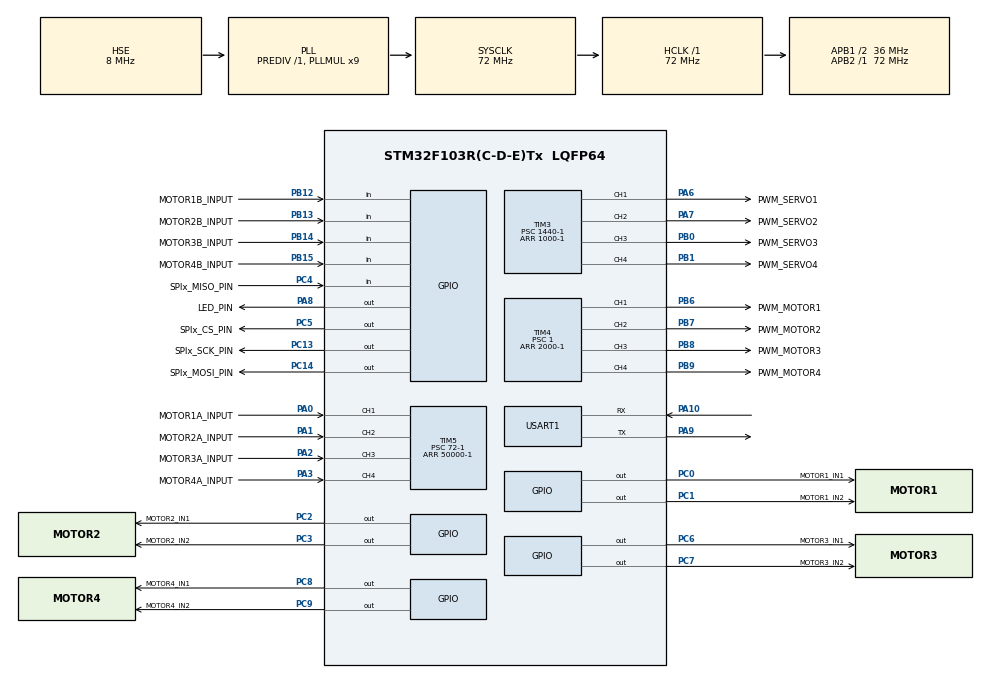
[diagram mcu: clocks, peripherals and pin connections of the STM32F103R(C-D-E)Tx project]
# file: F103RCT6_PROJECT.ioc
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Mcu.Family=STM32F1
Mcu.Name=STM32F103R(C-D-E)Tx
Mcu.Package=LQFP64
NVIC.PriorityGroup=NVIC_PRIORITYGROUP_4
NVIC.TIM5_IRQn=true\:0\:0\:true\:false\:true\:true\:true\:true
NVIC.USART1_IRQn=true\:1\:0\:true\:false\:true\:true\:true\:true
PA0-WKUP.GPIO_Label=MOTOR1A_INPUT
PA0-WKUP.Signal=S_TIM5_CH1
PA1.GPIO_Label=MOTOR2A_INPUT
PA1.Signal=S_TIM5_CH2
PA10.Mode=Asynchronous
PA10.Signal=USART1_RX
PA13.Mode=Serial_Wire
PA13.Signal=SYS_JTMS-SWDIO
PA14.Mode=Serial_Wire
PA14.Signal=SYS_JTCK-SWCLK
PA2.GPIO_Label=MOTOR3A_INPUT
PA2.Signal=S_TIM5_CH3
PA3.GPIO_Label=MOTOR4A_INPUT
PA3.Signal=S_TIM5_CH4
PA6.GPIO_Label=PWM_SERVO1
PA6.GPIO_Speed=GPIO_SPEED_FREQ_HIGH
PA6.Signal=S_TIM3_CH1
PA7.GPIO_Label=PWM_SERVO2
PA7.GPIO_Speed=GPIO_SPEED_FREQ_HIGH
PA7.Signal=S_TIM3_CH2
PA8.GPIO_Label=LED_PIN
PA8.GPIO_Speed=GPIO_SPEED_FREQ_HIGH
PA8.PinState=GPIO_PIN_SET
PA8.Signal=GPIO_Output
PA9.Mode=Asynchronous
PA9.Signal=USART1_TX
PB0.GPIO_Label=PWM_SERVO3
PB0.GPIO_Speed=GPIO_SPEED_FREQ_HIGH
PB0.Signal=S_TIM3_CH3
PB1.GPIO_Label=PWM_SERVO4
PB1.GPIO_Speed=GPIO_SPEED_FREQ_HIGH
PB1.Signal=S_TIM3_CH4
PB12.GPIO_Label=MOTOR1B_INPUT
PB12.GPIO_PuPd=GPIO_NOPULL
PB12.Signal=GPIO_Input
PB13.GPIO_Label=MOTOR2B_INPUT
PB13.GPIO_PuPd=GPIO_NOPULL
PB13.Signal=GPIO_Input
PB14.GPIO_Label=MOTOR3B_INPUT
PB14.GPIO_PuPd=GPIO_NOPULL
PB14.Signal=GPIO_Input
PB15.GPIO_Label=MOTOR4B_INPUT
PB15.GPIO_PuPd=GPIO_NOPULL
PB15.Signal=GPIO_Input
PB6.GPIO_Label=PWM_MOTOR1
PB6.GPIO_Speed=GPIO_SPEED_FREQ_HIGH
PB6.Signal=S_TIM4_CH1
PB7.GPIO_Label=PWM_MOTOR2
PB7.GPIO_Speed=GPIO_SPEED_FREQ_HIGH
PB7.Signal=S_TIM4_CH2
PB8.GPIO_Label=PWM_MOTOR3
PB8.GPIO_Speed=GPIO_SPEED_FREQ_HIGH
PB8.Signal=S_TIM4_CH3
PB9.GPIO_Label=PWM_MOTOR4
PB9.GPIO_Speed=GPIO_SPEED_FREQ_HIGH
PB9.Signal=S_TIM4_CH4
PC0.GPIO_Label=MOTOR1_IN1
PC0.GPIO_PuPd=GPIO_PULLDOWN
PC0.GPIO_Speed=GPIO_SPEED_FREQ_HIGH
PC0.Signal=GPIO_Output
PC1.GPIO_Label=MOTOR1_IN2
PC1.GPIO_PuPd=GPIO_PULLDOWN
PC1.GPIO_Speed=GPIO_SPEED_FREQ_HIGH
PC1.Signal=GPIO_Output
PC13-TAMPER-RTC.GPIO_Label=SPIx_SCK_PIN
PC13-TAMPER-RTC.GPIO_PuPd=GPIO_PULLDOWN
PC13-TAMPER-RTC.GPIO_Speed=GPIO_SPEED_FREQ_HIGH
PC13-TAMPER-RTC.Signal=GPIO_Output
PC14-OSC32_IN.GPIO_Label=SPIx_MOSI_PIN
PC14-OSC32_IN.GPIO_PuPd=GPIO_PULLDOWN
PC14-OSC32_IN.GPIO_Speed=GPIO_SPEED_FREQ_HIGH
PC14-OSC32_IN.Signal=GPIO_Output
PC2.GPIO_Label=MOTOR2_IN1
PC2.GPIO_PuPd=GPIO_PULLDOWN
PC2.GPIO_Speed=GPIO_SPEED_FREQ_HIGH
PC2.Signal=GPIO_Output
PC3.GPIO_Label=MOTOR2_IN2
PC3.GPIO_PuPd=GPIO_PULLDOWN
PC3.GPIO_Speed=GPIO_SPEED_FREQ_HIGH
PC3.Signal=GPIO_Output
PC4.GPIO_Label=SPIx_MISO_PIN
PC4.GPIO_PuPd=GPIO_PULLDOWN
PC4.Signal=GPIO_Input
PC5.GPIO_Label=SPIx_CS_PIN
PC5.GPIO_PuPd=GPIO_PULLDOWN
PC5.GPIO_Speed=GPIO_SPEED_FREQ_HIGH
PC5.Signal=GPIO_Output
PC6.GPIO_Label=MOTOR3_IN1
PC6.GPIO_PuPd=GPIO_PULLDOWN
PC6.GPIO_Speed=GPIO_SPEED_FREQ_HIGH
PC6.Signal=GPIO_Output
PC7.GPIO_Label=MOTOR3_IN2
PC7.GPIO_PuPd=GPIO_PULLDOWN
PC7.GPIO_Speed=GPIO_SPEED_FREQ_HIGH
PC7.Signal=GPIO_Output
PC8.GPIO_Label=MOTOR4_IN1
PC8.GPIO_PuPd=GPIO_PULLDOWN
PC8.GPIO_Speed=GPIO_SPEED_FREQ_HIGH
PC8.Signal=GPIO_Output
PC9.GPIO_Label=MOTOR4_IN2
PC9.GPIO_PuPd=GPIO_PULLDOWN
PC9.GPIO_Speed=GPIO_SPEED_FREQ_HIGH
PC9.Signal=GPIO_Output
PD0-OSC_IN.Mode=HSE-External-Oscillator
PD0-OSC_IN.Signal=RCC_OSC_IN
PD1-OSC_OUT.Mode=HSE-External-Oscillator
PD1-OSC_OUT.Signal=RCC_OSC_OUT
ProjectManager.HeapSize=0x200
ProjectManager.StackSize=0x400
ProjectManager.TargetToolchain=MDK-ARM V5.32
RCC.AHBFreq_Value=72000000
RCC.APB1CLKDivider=RCC_HCLK_DIV2
RCC.APB1Freq_Value=36000000
RCC.APB1TimFreq_Value=72000000
RCC.APB2Freq_Value=72000000
RCC.APB2TimFreq_Value=72000000
RCC.HCLKFreq_Value=72000000
RCC.PLLMUL=RCC_PLL_MUL9
RCC.PLLSourceVirtual=RCC_PLLSOURCE_HSE
RCC.SYSCLKFreq_VALUE=72000000
RCC.SYSCLKSource=RCC_SYSCLKSOURCE_PLLCLK
RCC.USBFreq_Value=72000000
SH.S_TIM3_CH1.0=TIM3_CH1,PWM Generation1 CH1
SH.S_TIM3_CH2.0=TIM3_CH2,PWM Generation2 CH2
SH.S_TIM3_CH3.0=TIM3_CH3,PWM Generation3 CH3
SH.S_TIM3_CH4.0=TIM3_CH4,PWM Generation4 CH4
SH.S_TIM4_CH1.0=TIM4_CH1,PWM Generation1 CH1
SH.S_TIM4_CH2.0=TIM4_CH2,PWM Generation2 CH2
SH.S_TIM4_CH3.0=TIM4_CH3,PWM Generation3 CH3
SH.S_TIM4_CH4.0=TIM4_CH4,PWM Generation4 CH4
SH.S_TIM5_CH1.0=TIM5_CH1,Input_Capture1_from_TI1
SH.S_TIM5_CH2.0=TIM5_CH2,Input_Capture2_from_TI2
SH.S_TIM5_CH3.0=TIM5_CH3,Input_Capture3_from_TI3
SH.S_TIM5_CH4.0=TIM5_CH4,Input_Capture4_from_TI4
TIM3.AutoReloadPreload=TIM_AUTORELOAD_PRELOAD_ENABLE
TIM3.Channel-PWM\ Generation1\ CH1=TIM_CHANNEL_1
TIM3.Channel-PWM\ Generation2\ CH2=TIM_CHANNEL_2
TIM3.Channel-PWM\ Generation3\ CH3=TIM_CHANNEL_3
TIM3.Channel-PWM\ Generation4\ CH4=TIM_CHANNEL_4
TIM3.Period=1000-1
TIM3.Prescaler=1440-1
TIM3.Pulse-PWM\ Generation2\ CH2=0
TIM3.Pulse-PWM\ Generation3\ CH3=1000
TIM3.Pulse-PWM\ Generation4\ CH4=1000
TIM4.AutoReloadPreload=TIM_AUTORELOAD_PRELOAD_ENABLE
TIM4.Channel-PWM\ Generation1\ CH1=TIM_CHANNEL_1
TIM4.Channel-PWM\ Generation2\ CH2=TIM_CHANNEL_2
TIM4.Channel-PWM\ Generation3\ CH3=TIM_CHANNEL_3
TIM4.Channel-PWM\ Generation4\ CH4=TIM_CHANNEL_4
TIM4.Period=2000-1
TIM4.Prescaler=1
TIM4.Pulse-PWM\ Generation1\ CH1=1000
TIM4.Pulse-PWM\ Generation2\ CH2=1000
TIM4.Pulse-PWM\ Generation3\ CH3=1000
TIM4.Pulse-PWM\ Generation4\ CH4=1000
TIM5.AutoReloadPreload=TIM_AUTORELOAD_PRELOAD_ENABLE
TIM5.Channel-Input_Capture1_from_TI1=TIM_CHANNEL_1
TIM5.Channel-Input_Capture2_from_TI2=TIM_CHANNEL_2
TIM5.Channel-Input_Capture3_from_TI3=TIM_CHANNEL_3
TIM5.Channel-Input_Capture4_from_TI4=TIM_CHANNEL_4
TIM5.ICFilter_CH1=1
TIM5.ICFilter_CH2=1
TIM5.ICFilter_CH3=1
TIM5.ICFilter_CH4=1
TIM5.ICPolarity_CH1=TIM_INPUTCHANNELPOLARITY_FALLING
TIM5.ICPolarity_CH2=TIM_INPUTCHANNELPOLARITY_FALLING
TIM5.ICPolarity_CH3=TIM_INPUTCHANNELPOLARITY_FALLING
TIM5.ICPolarity_CH4=TIM_INPUTCHANNELPOLARITY_FALLING
TIM5.Period=50000-1
TIM5.Prescaler=72-1
TIM6.AutoReloadPreload=TIM_AUTORELOAD_PRELOAD_DISABLE
TIM6.Prescaler=72-1
USART1.VirtualMode=VM_ASYNC
VP_TIM3_VS_ClockSourceINT.Mode=Internal
VP_TIM4_VS_ClockSourceINT.Mode=Internal
VP_TIM5_VS_ClockSourceINT.Mode=Internal
VP_TIM6_VS_ClockSourceINT.Mode=Enable_Timer
board=custom

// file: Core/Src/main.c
/* USER CODE BEGIN Header */
/**
  ******************************************************************************
  * @file           : main.c
  * @brief          : Main program body
  ******************************************************************************
  * @attention
  *
  * Copyright (c) 2023 STMicroelectronics.
  * All rights reserved.
  *
  * This software is licensed under terms that can be found in the LICENSE file
  * in the root directory of this software component.
  * If no LICENSE file comes with this software, it is provided AS-IS.
  *
  ******************************************************************************
  */
/* USER CODE END Header */
#include "main.h"
#include "tim.h"
#include "usart.h"
#include "gpio.h"

/* USER CODE BEGIN Includes */
#include "bsp_encoder.h"
#include "bsp_led.h"
#include "motor.h"
#include "bsp_ps2.h"
#include "pid.h"
#include "PS2.h"
#include "chasis_control.h"
/* USER CODE END Includes */

void SystemClock_Config(void);

int main(void)
{

  /* MCU Configuration--------------------------------------------------------*/

  /* Reset of all peripherals, Initializes the Flash interface and the Systick. */
  HAL_Init();

  /* Configure the system clock */
  SystemClock_Config();

  /* Initialize all configured peripherals */
  MX_GPIO_Init();
  MX_USART1_UART_Init();
  MX_TIM4_Init();
  MX_TIM3_Init();
  MX_TIM5_Init();
  MX_TIM6_Init();
  /* USER CODE BEGIN 2 */
  	HAL_TIM_Base_Start_IT(&htim5);
	HAL_TIM_IC_Start_IT(&htim5, TIM_CHANNEL_1);
	HAL_TIM_IC_Start_IT(&htim5, TIM_CHANNEL_2);
	HAL_TIM_IC_Start_IT(&htim5, TIM_CHANNEL_3);
	HAL_TIM_IC_Start_IT(&htim5, TIM_CHANNEL_4);

	bsp_InitPid();

	printf("input format : data+[space]\n");

//	MotoASetSpeed(0, 500);
//	MotoBSetSpeed(0, 500);
//	MotoCSetSpeed(0, 500);
//	MotoDSetSpeed(0, 500);
  /* USER CODE END 2 */

  /* Infinite loop */
  while (1)
  {

    /* USER CODE BEGIN 3 */
	  PS2_Read_Data();
//	  printf("LX:%d LY:%d RX:%d RY:%d\r\n", PS2_Data.Rocker_LX, PS2_Data.Rocker_LY, PS2_Data.Rocker_RX, PS2_Data.Rocker_RY);

//		printf("LX:%d LY:%d RX:%d RY:%d L1:%d L2:%d R1:%d R2:%d\r\n", PS2_Data.Rocker_LX, PS2_Data.Rocker_LY, PS2_Data.Rocker_RX, PS2_Data.Rocker_RY, PS2_Data.Key_L1, PS2_Data.Key_L2, PS2_Data.Key_R1, PS2_Data.Key_R1);

	  Chasis_Speed();
	  Speed_Synchronization();
	  Speed_PID_Calculate();
	  Chasis_Control();
	  Angle_Control_PS2_Gate();
	  Servo_Control_Gate();
		Angle_Control_PS2_Baffle();
		Servo_Control_Baffle();
//		test();
	  HAL_Delay(10);
  }
  /* USER CODE END 3 */
}

void SystemClock_Config(void)
{
  RCC_OscInitTypeDef RCC_OscInitStruct = {0};
  RCC_ClkInitTypeDef RCC_ClkInitStruct = {0};

  /** Initializes the RCC Oscillators according to the specified parameters
  * in the RCC_OscInitTypeDef structure.
  */
  RCC_OscInitStruct.OscillatorType = RCC_OSCILLATORTYPE_LSI|RCC_OSCILLATORTYPE_HSE;
  RCC_OscInitStruct.HSEState = RCC_HSE_ON;
  RCC_OscInitStruct.HSEPredivValue = RCC_HSE_PREDIV_DIV1;
  RCC_OscInitStruct.HSIState = RCC_HSI_ON;
  RCC_OscInitStruct.LSIState = RCC_LSI_ON;
  RCC_OscInitStruct.PLL.PLLState = RCC_PLL_ON;
  RCC_OscInitStruct.PLL.PLLSource = RCC_PLLSOURCE_HSE;
  RCC_OscInitStruct.PLL.PLLMUL = RCC_PLL_MUL9;
  if (HAL_RCC_OscConfig(&RCC_OscInitStruct) != HAL_OK)
  {
    Error_Handler();
  }

  /** Initializes the CPU, AHB and APB buses clocks
  */
  RCC_ClkInitStruct.ClockType = RCC_CLOCKTYPE_HCLK|RCC_CLOCKTYPE_SYSCLK
                              |RCC_CLOCKTYPE_PCLK1|RCC_CLOCKTYPE_PCLK2;
  RCC_ClkInitStruct.SYSCLKSource = RCC_SYSCLKSOURCE_PLLCLK;
  RCC_ClkInitStruct.AHBCLKDivider = RCC_SYSCLK_DIV1;
  RCC_ClkInitStruct.APB1CLKDivider = RCC_HCLK_DIV2;
  RCC_ClkInitStruct.APB2CLKDivider = RCC_HCLK_DIV1;

  if (HAL_RCC_ClockConfig(&RCC_ClkInitStruct, FLASH_LATENCY_2) != HAL_OK)
  {
    Error_Handler();
  }
}

void Error_Handler(void)
{
  __disable_irq();
  while (1)
  {
  }
}
